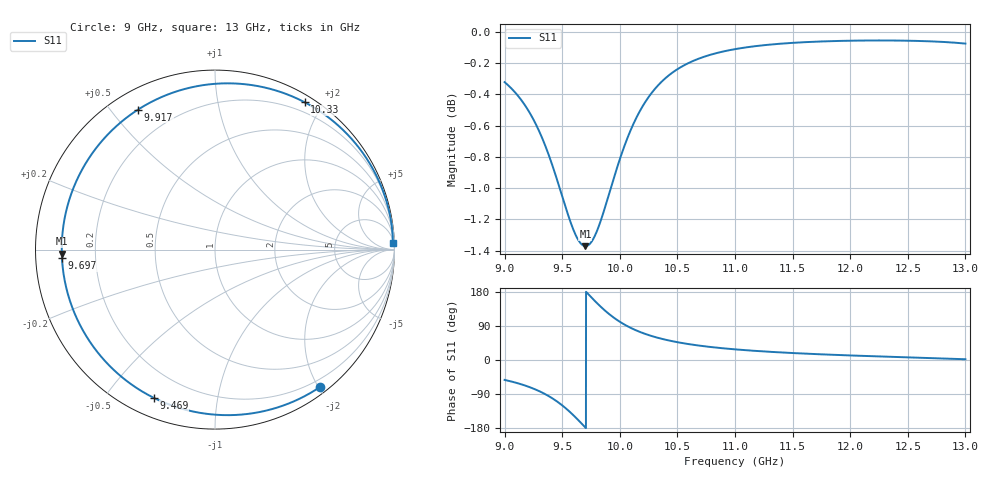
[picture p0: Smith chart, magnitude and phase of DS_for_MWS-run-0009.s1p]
! TOUCHSTONE file generated by CST DESIGN STUDIO
! Date and time: Tue Feb  4 18:42:45 2025
! Project name: C:\Work\MatlabApps\UnitCellOptimizationMatlab\CST\unitcell.cst
! Tree item: Tasks\Sweep1\SPara1\S-Parameters
! Header version: 2024
! Port assignment regex: !\s*Touchstone port\s*([0-9]+)\s*=\s*(CST MWS port|CST DES external port|CST DES block port)\s*(.+)\s* \(\"(.*)\"\)(\s*mode\s*([0-9]+))?.*
! Touchstone port assignment:
! Touchstone port 1 = CST DES external port 1 ("")
# GHz S MA R 50
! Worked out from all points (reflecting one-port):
!   4001 points, 9 GHz to 13 GHz, reference 50 ohm
!   lowest |S11| = -1.4 dB at 9.702 GHz (marker M1), VSWR 12.70, Z = 3.94 - j0.683 ohm
!   phase of S11 starts at -53 deg and turns -305 deg over the sweep
!   S11 on the Smith chart (normalised r, x): 9 GHz: 0.09, -2.02; 9.469 GHz: 0.08, -0.67; 9.697 GHz: 0.08, -0.03; 9.917 GHz: 0.08, +0.59; 10.33 GHz: 0.08, +1.78; 13 GHz: 14, +54
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9  0.9635 -52.5
9.125  0.953 -62.3
9.245  0.9382 -74.9
9.371  0.9158 -93.2
9.422  0.9046 -102.6
9.469  0.8934 -112.5
9.5  0.8859 -119.7
9.556  0.8727 -134.1
9.612  0.8618 -150.2
9.656  0.8561 -163.7
9.697  0.854 -176.8
9.702  0.854 -178.4
9.747  0.856 167.1
9.795  0.8624 152.2
9.857  0.8752 134.3
9.917  0.89 118.9
10  0.9104 100.9
10.072  0.9258 88.3
10.158  0.9408 76.1
10.24  0.9518 66.8
10.329  0.961 58.7
10.5  0.9727 47.0
10.718  0.9813 36.9
11  0.9872 28.1
11.5  0.9918 18.4
12  0.9933 12.0
12.5  0.9933 7.0
13  0.9912 2.0
